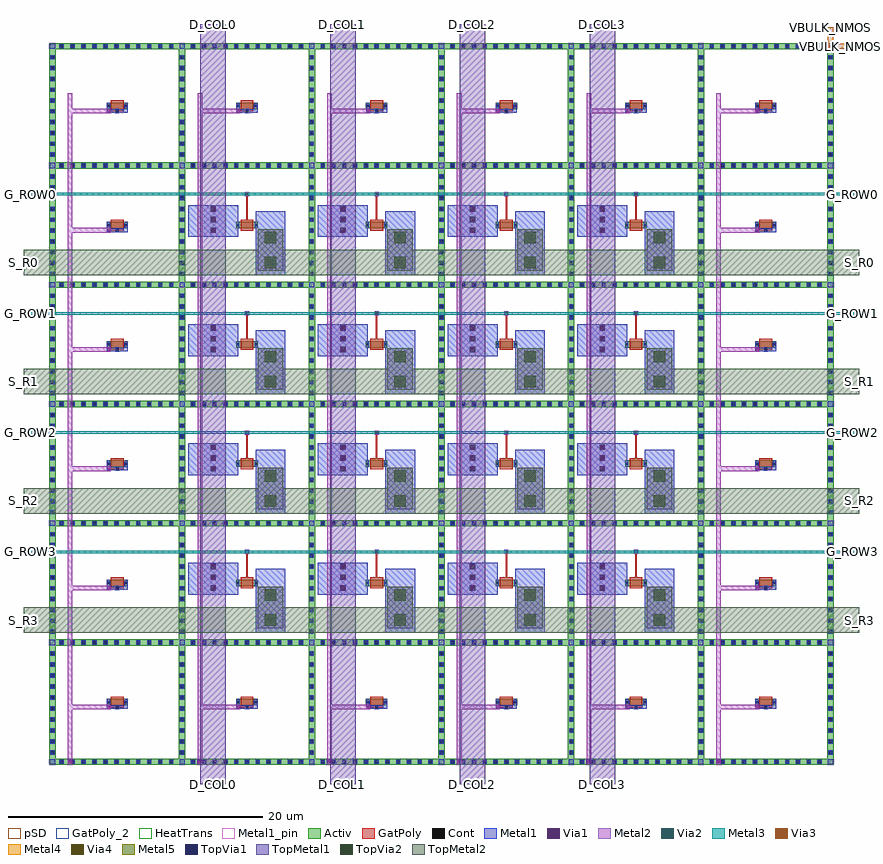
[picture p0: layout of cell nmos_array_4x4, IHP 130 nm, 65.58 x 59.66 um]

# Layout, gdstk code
import gdstk
lib = gdstk.Library(unit=1e-6, precision=1e-09)
def R(c, l, rs):  # rectangles x0, y0, x1, y1
    for r in rs: c.add(gdstk.rectangle(r[:2], r[2:], *l))
def A(c, l, x, y, w, h, nx, ny, dx, dy):  # array of equal rectangles
    R(c, l, [(x+i*dx, y+j*dy, x+i*dx+w, y+j*dy+h) for i in range(nx) for j in range(ny)])
Activ = (1, 0)
GatPoly = (5, 0)
GatPoly_2 = (5, 2)
Cont = (6, 0)
Metal1 = (8, 0)
Metal1_pin = (8, 2)
Metal2 = (10, 0)
pSD = (14, 0)
Via1 = (19, 0)
Via2 = (29, 0)
Metal3 = (30, 0)
Via3 = (49, 0)
Metal4 = (50, 0)
HeatTrans = (51, 0)
Via4 = (66, 0)
Metal5 = (67, 0)
TopVia1 = (125, 0)
TopMetal1 = (126, 0)
TopVia2 = (133, 0)
TopMetal2 = (134, 0)

nmos = lib.new_cell('nmos')
R(nmos, Activ, [(0,0,0.3,0.3), (0,0,1.68,0.5), (1.38,0,1.68,0.3)])
R(nmos, GatPoly, [(0.34,-0.18,1.34,0.68)])
R(nmos, GatPoly_2, [(0.34,-0.18,1.34,0.68)])
R(nmos, Cont, [(0.07,0.17,0.23,0.33), (1.45,0.17,1.61,0.33)])
R(nmos, Metal1, [(0.07,0,0.23,0.5), (1.45,0,1.61,0.5)])
R(nmos, Metal1_pin, [(0.07,0,0.23,0.5), (1.45,0,1.61,0.5)])
R(nmos, HeatTrans, [(0.34,-0.18,1.34,0.68)])
nmos.add(gdstk.Label('nmos', (0.84,0.25), layer=63, texttype=0))
nmos.add(gdstk.Label('nmos', (0.84,0.25), layer=51, texttype=0))

nmos_array_4x4 = lib.new_cell('nmos_array_4x4')
A(nmos_array_4x4, Activ, 0, 0, 0.5, 56.66, 7, 1, 10.18, 0)
A(nmos_array_4x4, Activ, 0, 0, 61.58, 0.5, 1, 7, 0, 9.36)
A(nmos_array_4x4, GatPoly, 5.275, 4.53, 0.13, 0.2, 6, 2, 10.18, 46.8)
A(nmos_array_4x4, GatPoly, 5.275, 13.89, 0.13, 0.2, 1, 4, 0, 9.36)
A(nmos_array_4x4, GatPoly, 56.175, 13.89, 0.13, 0.2, 1, 4, 0, 9.36)
A(nmos_array_4x4, GatPoly, 15.455, 14.72, 0.13, 2, 4, 4, 10.18, 9.36)
A(nmos_array_4x4, Cont, 0.86, 0.14, 0.22, 0.22, 11, 7, 0.86, 9.36)
A(nmos_array_4x4, Cont, 11.18, 0.14, 0.22, 0.22, 11, 7, 0.846, 9.36)
A(nmos_array_4x4, Cont, 21.36, 0.14, 0.22, 0.22, 11, 7, 0.846, 9.36)
A(nmos_array_4x4, Cont, 31.54, 0.14, 0.22, 0.22, 11, 7, 0.846, 9.36)
A(nmos_array_4x4, Cont, 41.72, 0.14, 0.22, 0.22, 11, 7, 0.846, 9.36)
A(nmos_array_4x4, Cont, 51.9, 0.14, 0.22, 0.22, 11, 7, 0.846, 9.36)
A(nmos_array_4x4, Cont, 0.14, 0.864, 0.22, 0.22, 7, 10, 10.18, 0.864)
A(nmos_array_4x4, Cont, 5.23, 4.42, 0.22, 0.22, 6, 2, 10.18, 46.8)
A(nmos_array_4x4, Cont, 0.14, 10.36, 0.22, 0.22, 7, 2, 10.18, 0.848)
A(nmos_array_4x4, Cont, 0.14, 12.057, 0.22, 0.22, 7, 8, 10.18, 0.849)
A(nmos_array_4x4, Cont, 5.23, 13.78, 0.22, 0.22, 1, 4, 0, 9.36)
A(nmos_array_4x4, Cont, 56.13, 13.78, 0.22, 0.22, 1, 4, 0, 9.36)
A(nmos_array_4x4, Cont, 15.41, 16.61, 0.22, 0.22, 4, 4, 10.18, 9.36)
A(nmos_array_4x4, Cont, 0.14, 19.72, 0.22, 0.22, 7, 2, 10.18, 0.848)
A(nmos_array_4x4, Cont, 0.14, 21.417, 0.22, 0.22, 7, 8, 10.18, 0.849)
A(nmos_array_4x4, Cont, 0.14, 29.08, 0.22, 0.22, 7, 2, 10.18, 0.848)
A(nmos_array_4x4, Cont, 0.14, 30.777, 0.22, 0.22, 7, 8, 10.18, 0.849)
A(nmos_array_4x4, Cont, 0.14, 38.44, 0.22, 0.22, 7, 2, 10.18, 0.848)
A(nmos_array_4x4, Cont, 0.14, 40.137, 0.22, 0.22, 7, 8, 10.18, 0.849)
A(nmos_array_4x4, Cont, 0.14, 47.8, 0.22, 0.22, 7, 2, 10.18, 0.848)
A(nmos_array_4x4, Cont, 0.14, 49.497, 0.22, 0.22, 7, 8, 10.18, 0.849)
A(nmos_array_4x4, Metal1, 0.8, 0.08, 0.34, 0.34, 11, 7, 0.86, 9.36)
A(nmos_array_4x4, Metal1, 11.12, 0.08, 0.34, 0.34, 11, 7, 0.846, 9.36)
A(nmos_array_4x4, Metal1, 21.3, 0.08, 0.34, 0.34, 11, 7, 0.846, 9.36)
A(nmos_array_4x4, Metal1, 31.48, 0.08, 0.34, 0.34, 11, 7, 0.846, 9.36)
A(nmos_array_4x4, Metal1, 41.66, 0.08, 0.34, 0.34, 11, 7, 0.846, 9.36)
A(nmos_array_4x4, Metal1, 51.84, 0.08, 0.34, 0.34, 11, 7, 0.846, 9.36)
A(nmos_array_4x4, Metal1, 0.08, 0.804, 0.34, 0.34, 7, 10, 10.18, 0.864)
A(nmos_array_4x4, Metal1, 5.17, 4.36, 0.34, 0.34, 6, 2, 10.18, 46.8)
A(nmos_array_4x4, Metal1, 4.51, 4.39, 0.28, 0.68, 1, 6, 0, 9.36)
A(nmos_array_4x4, Metal1, 4.51, 4.39, 1.66, 0.28, 6, 2, 10.18, 46.8)
A(nmos_array_4x4, Metal1, 5.89, 4.39, 0.28, 0.68, 1, 6, 0, 9.36)
A(nmos_array_4x4, Metal1, 55.41, 4.39, 0.28, 0.68, 1, 6, 0, 9.36)
A(nmos_array_4x4, Metal1, 56.79, 4.39, 0.28, 0.68, 1, 6, 0, 9.36)
A(nmos_array_4x4, Metal1, 0.05, 9.41, 0.4, 0.4, 7, 6, 10.18, 9.36)
A(nmos_array_4x4, Metal1, 0.08, 10.3, 0.34, 0.34, 7, 2, 10.18, 0.848)
A(nmos_array_4x4, Metal1, 16.21, 10.36, 2.32, 5.02, 4, 4, 10.18, 9.36)
A(nmos_array_4x4, Metal1, 0.08, 11.997, 0.34, 0.34, 7, 8, 10.18, 0.849)
A(nmos_array_4x4, Metal1, 10.91, 13.371, 3.92, 2.499, 4, 4, 10.18, 9.36)
A(nmos_array_4x4, Metal1, 5.17, 13.72, 0.34, 0.34, 1, 4, 0, 9.36)
A(nmos_array_4x4, Metal1, 56.07, 13.72, 0.34, 0.34, 1, 4, 0, 9.36)
A(nmos_array_4x4, Metal1, 4.51, 13.75, 1.66, 0.28, 1, 4, 0, 9.36)
A(nmos_array_4x4, Metal1, 55.41, 13.75, 1.66, 0.28, 1, 4, 0, 9.36)
A(nmos_array_4x4, Metal1, 15.36, 16.56, 0.32, 0.32, 4, 4, 10.18, 9.36)
A(nmos_array_4x4, Metal1, 0.08, 19.66, 0.34, 0.34, 7, 2, 10.18, 0.848)
A(nmos_array_4x4, Metal1, 0.08, 21.357, 0.34, 0.34, 7, 8, 10.18, 0.849)
A(nmos_array_4x4, Metal1, 0.08, 29.02, 0.34, 0.34, 7, 2, 10.18, 0.848)
A(nmos_array_4x4, Metal1, 0.08, 30.717, 0.34, 0.34, 7, 8, 10.18, 0.849)
A(nmos_array_4x4, Metal1, 0.08, 38.38, 0.34, 0.34, 7, 2, 10.18, 0.848)
A(nmos_array_4x4, Metal1, 0.08, 40.077, 0.34, 0.34, 7, 8, 10.18, 0.849)
A(nmos_array_4x4, Metal1, 0.08, 47.74, 0.34, 0.34, 7, 2, 10.18, 0.848)
A(nmos_array_4x4, Metal1, 0.08, 49.437, 0.34, 0.34, 7, 8, 10.18, 0.849)
R(nmos_array_4x4, Metal1, [(0.05,0.05,0.45,0.45), (1.44,0.05,1.84,0.45), (10.23,0.05,10.63,0.45), (11.62,0.05,12.02,0.45), (20.41,0.05,20.81,0.45), (21.8,0.05,22.2,0.45), (30.59,0.05,30.99,0.45), (31.98,0.05,32.38,0.45), (40.77,0.05,41.17,0.45), (42.16,0.05,42.56,0.45), (50.95,0.05,51.35,0.45), (52.34,0.05,52.74,0.45), (61.13,0.05,61.53,0.45), (14.69,4.39,14.97,5.07), (16.07,4.39,16.35,5.07), (24.87,4.39,25.15,5.07), (26.25,4.39,26.53,5.07), (35.05,4.39,35.33,5.07), (36.43,4.39,36.71,5.07), (45.23,4.39,45.51,5.07), (46.61,4.39,46.89,5.07), (14.69,51.19,14.97,51.87), (16.07,51.19,16.35,51.87), (24.87,51.19,25.15,51.87), (26.25,51.19,26.53,51.87), (35.05,51.19,35.33,51.87), (36.43,51.19,36.71,51.87), (45.23,51.19,45.51,51.87), (46.61,51.19,46.89,51.87)])
A(nmos_array_4x4, Metal2, 1.46, 0.07, 0.36, 52.66, 6, 1, 10.18, 0)
A(nmos_array_4x4, Metal2, 1.46, 4.35, 3.37, 0.36, 6, 2, 10.18, 46.8)
A(nmos_array_4x4, Metal2, 17.215, 11.205, 0.31, 0.31, 4, 2, 10.18, 1.96)
A(nmos_array_4x4, Metal2, 1.46, 13.71, 3.37, 0.36, 1, 4, 0, 9.36)
A(nmos_array_4x4, Metal2, 52.36, 13.71, 3.37, 0.36, 1, 4, 0, 9.36)
A(nmos_array_4x4, Metal2, 12.715, 13.735, 0.31, 0.31, 4, 3, 10.18, 0.84)
A(nmos_array_4x4, Metal2, 15.375, 16.575, 0.29, 0.29, 4, 4, 10.18, 9.36)
A(nmos_array_4x4, Metal2, 17.215, 20.565, 0.31, 0.31, 4, 2, 10.18, 1.96)
A(nmos_array_4x4, Metal2, 12.715, 23.095, 0.31, 0.31, 4, 3, 10.18, 0.84)
A(nmos_array_4x4, Metal2, 17.215, 29.925, 0.31, 0.31, 4, 2, 10.18, 1.96)
A(nmos_array_4x4, Metal2, 12.715, 32.455, 0.31, 0.31, 4, 3, 10.18, 0.84)
A(nmos_array_4x4, Metal2, 17.215, 39.285, 0.31, 0.31, 4, 2, 10.18, 1.96)
A(nmos_array_4x4, Metal2, 12.715, 41.815, 0.31, 0.31, 4, 3, 10.18, 0.84)
R(nmos_array_4x4, Metal2, [(61.15,56.23,61.51,56.59)])
A(nmos_array_4x4, pSD, 0, 0, 0.5, 56.66, 7, 1, 10.18, 0)
A(nmos_array_4x4, pSD, 0, 0, 61.58, 0.5, 1, 7, 0, 9.36)
A(nmos_array_4x4, Via1, 1.545, 0.155, 0.19, 0.19, 6, 1, 10.18, 0)
A(nmos_array_4x4, Via1, 4.555, 4.435, 0.19, 0.19, 6, 2, 10.18, 46.8)
A(nmos_array_4x4, Via1, 17.275, 11.265, 0.19, 0.19, 4, 2, 10.18, 1.96)
A(nmos_array_4x4, Via1, 4.555, 13.795, 0.19, 0.19, 1, 4, 0, 9.36)
A(nmos_array_4x4, Via1, 12.775, 13.795, 0.19, 0.19, 4, 3, 10.18, 0.84)
A(nmos_array_4x4, Via1, 55.455, 13.795, 0.19, 0.19, 1, 4, 0, 9.36)
A(nmos_array_4x4, Via1, 15.425, 16.625, 0.19, 0.19, 4, 4, 10.18, 9.36)
A(nmos_array_4x4, Via1, 17.275, 20.625, 0.19, 0.19, 4, 2, 10.18, 1.96)
A(nmos_array_4x4, Via1, 12.775, 23.155, 0.19, 0.19, 4, 3, 10.18, 0.84)
A(nmos_array_4x4, Via1, 17.275, 29.985, 0.19, 0.19, 4, 2, 10.18, 1.96)
A(nmos_array_4x4, Via1, 12.775, 32.515, 0.19, 0.19, 4, 3, 10.18, 0.84)
A(nmos_array_4x4, Via1, 17.275, 39.345, 0.19, 0.19, 4, 2, 10.18, 1.96)
A(nmos_array_4x4, Via1, 12.775, 41.875, 0.19, 0.19, 4, 3, 10.18, 0.84)
R(nmos_array_4x4, Via1, [(61.235,56.315,61.425,56.505)])
A(nmos_array_4x4, Via2, 17.275, 11.265, 0.19, 0.19, 4, 2, 10.18, 1.96)
A(nmos_array_4x4, Via2, 12.775, 13.795, 0.19, 0.19, 4, 3, 10.18, 0.84)
A(nmos_array_4x4, Via2, 15.425, 16.625, 0.19, 0.19, 4, 4, 10.18, 9.36)
A(nmos_array_4x4, Via2, 17.275, 20.625, 0.19, 0.19, 4, 2, 10.18, 1.96)
A(nmos_array_4x4, Via2, 12.775, 23.155, 0.19, 0.19, 4, 3, 10.18, 0.84)
A(nmos_array_4x4, Via2, 17.275, 29.985, 0.19, 0.19, 4, 2, 10.18, 1.96)
A(nmos_array_4x4, Via2, 12.775, 32.515, 0.19, 0.19, 4, 3, 10.18, 0.84)
A(nmos_array_4x4, Via2, 17.275, 39.345, 0.19, 0.19, 4, 2, 10.18, 1.96)
A(nmos_array_4x4, Via2, 12.775, 41.875, 0.19, 0.19, 4, 3, 10.18, 0.84)
R(nmos_array_4x4, Via2, [(61.235,56.315,61.425,56.505)])
A(nmos_array_4x4, Metal3, 17.215, 11.205, 0.31, 0.31, 4, 2, 10.18, 1.96)
A(nmos_array_4x4, Metal3, 12.715, 13.735, 0.31, 0.31, 4, 3, 10.18, 0.84)
A(nmos_array_4x4, Metal3, -1.6, 16.62, 64.78, 0.2, 1, 4, 0, 9.36)
A(nmos_array_4x4, Metal3, 15.42, 16.62, 0.2, 0.2, 4, 4, 10.18, 9.36)
A(nmos_array_4x4, Metal3, 17.215, 20.565, 0.31, 0.31, 4, 2, 10.18, 1.96)
A(nmos_array_4x4, Metal3, 12.715, 23.095, 0.31, 0.31, 4, 3, 10.18, 0.84)
A(nmos_array_4x4, Metal3, 17.215, 29.925, 0.31, 0.31, 4, 2, 10.18, 1.96)
A(nmos_array_4x4, Metal3, 12.715, 32.455, 0.31, 0.31, 4, 3, 10.18, 0.84)
A(nmos_array_4x4, Metal3, 17.215, 39.285, 0.31, 0.31, 4, 2, 10.18, 1.96)
A(nmos_array_4x4, Metal3, 12.715, 41.815, 0.31, 0.31, 4, 3, 10.18, 0.84)
R(nmos_array_4x4, Metal3, [(61.23,56.31,61.43,56.51)])
A(nmos_array_4x4, Via3, 17.275, 11.265, 0.19, 0.19, 4, 2, 10.18, 1.96)
A(nmos_array_4x4, Via3, 12.775, 13.795, 0.19, 0.19, 4, 3, 10.18, 0.84)
A(nmos_array_4x4, Via3, 17.275, 20.625, 0.19, 0.19, 4, 2, 10.18, 1.96)
A(nmos_array_4x4, Via3, 12.775, 23.155, 0.19, 0.19, 4, 3, 10.18, 0.84)
A(nmos_array_4x4, Via3, 17.275, 29.985, 0.19, 0.19, 4, 2, 10.18, 1.96)
A(nmos_array_4x4, Via3, 12.775, 32.515, 0.19, 0.19, 4, 3, 10.18, 0.84)
A(nmos_array_4x4, Via3, 17.275, 39.345, 0.19, 0.19, 4, 2, 10.18, 1.96)
A(nmos_array_4x4, Via3, 12.775, 41.875, 0.19, 0.19, 4, 3, 10.18, 0.84)
R(nmos_array_4x4, Via3, [(61.235,56.315,61.425,56.505)])
A(nmos_array_4x4, Metal4, 17.215, 11.205, 0.31, 0.31, 4, 2, 10.18, 1.96)
A(nmos_array_4x4, Metal4, 12.715, 13.735, 0.31, 0.31, 4, 3, 10.18, 0.84)
A(nmos_array_4x4, Metal4, 17.215, 20.565, 0.31, 0.31, 4, 2, 10.18, 1.96)
A(nmos_array_4x4, Metal4, 12.715, 23.095, 0.31, 0.31, 4, 3, 10.18, 0.84)
A(nmos_array_4x4, Metal4, 17.215, 29.925, 0.31, 0.31, 4, 2, 10.18, 1.96)
A(nmos_array_4x4, Metal4, 12.715, 32.455, 0.31, 0.31, 4, 3, 10.18, 0.84)
A(nmos_array_4x4, Metal4, 17.215, 39.285, 0.31, 0.31, 4, 2, 10.18, 1.96)
A(nmos_array_4x4, Metal4, 12.715, 41.815, 0.31, 0.31, 4, 3, 10.18, 0.84)
R(nmos_array_4x4, Metal4, [(61.13,56.21,62.83,56.61), (61.13,56.21,61.53,57.91)])
A(nmos_array_4x4, Via4, 17.275, 11.265, 0.19, 0.19, 4, 2, 10.18, 1.96)
A(nmos_array_4x4, Via4, 12.775, 13.795, 0.19, 0.19, 4, 3, 10.18, 0.84)
A(nmos_array_4x4, Via4, 17.275, 20.625, 0.19, 0.19, 4, 2, 10.18, 1.96)
A(nmos_array_4x4, Via4, 12.775, 23.155, 0.19, 0.19, 4, 3, 10.18, 0.84)
A(nmos_array_4x4, Via4, 17.275, 29.985, 0.19, 0.19, 4, 2, 10.18, 1.96)
A(nmos_array_4x4, Via4, 12.775, 32.515, 0.19, 0.19, 4, 3, 10.18, 0.84)
A(nmos_array_4x4, Via4, 17.275, 39.345, 0.19, 0.19, 4, 2, 10.18, 1.96)
A(nmos_array_4x4, Via4, 12.775, 41.875, 0.19, 0.19, 4, 3, 10.18, 0.84)
A(nmos_array_4x4, Metal5, 17.215, 11.205, 0.31, 0.31, 4, 2, 10.18, 1.96)
A(nmos_array_4x4, Metal5, 12.715, 13.735, 0.31, 0.31, 4, 3, 10.18, 0.84)
A(nmos_array_4x4, Metal5, 17.215, 20.565, 0.31, 0.31, 4, 2, 10.18, 1.96)
A(nmos_array_4x4, Metal5, 12.715, 23.095, 0.31, 0.31, 4, 3, 10.18, 0.84)
A(nmos_array_4x4, Metal5, 17.215, 29.925, 0.31, 0.31, 4, 2, 10.18, 1.96)
A(nmos_array_4x4, Metal5, 12.715, 32.455, 0.31, 0.31, 4, 3, 10.18, 0.84)
A(nmos_array_4x4, Metal5, 17.215, 39.285, 0.31, 0.31, 4, 2, 10.18, 1.96)
A(nmos_array_4x4, Metal5, 12.715, 41.815, 0.31, 0.31, 4, 3, 10.18, 0.84)
A(nmos_array_4x4, TopVia1, 17.16, 11.15, 0.42, 0.42, 4, 2, 10.18, 1.96)
A(nmos_array_4x4, TopVia1, 12.66, 13.68, 0.42, 0.42, 4, 3, 10.18, 0.84)
A(nmos_array_4x4, TopVia1, 17.16, 20.51, 0.42, 0.42, 4, 2, 10.18, 1.96)
A(nmos_array_4x4, TopVia1, 12.66, 23.04, 0.42, 0.42, 4, 3, 10.18, 0.84)
A(nmos_array_4x4, TopVia1, 17.16, 29.87, 0.42, 0.42, 4, 2, 10.18, 1.96)
A(nmos_array_4x4, TopVia1, 12.66, 32.4, 0.42, 0.42, 4, 3, 10.18, 0.84)
A(nmos_array_4x4, TopVia1, 17.16, 39.23, 0.42, 0.42, 4, 2, 10.18, 1.96)
A(nmos_array_4x4, TopVia1, 12.66, 41.76, 0.42, 0.42, 4, 3, 10.18, 0.84)
A(nmos_array_4x4, TopMetal1, 11.87, -1.5, 2, 59.66, 4, 1, 10.18, 0)
A(nmos_array_4x4, TopMetal1, 16.37, 10.71, 2, 3.26, 4, 4, 10.18, 9.36)
A(nmos_array_4x4, TopMetal1, 11.87, 13.58, 2, 2.3, 4, 4, 10.18, 9.36)
A(nmos_array_4x4, TopVia2, 16.92, 10.91, 0.9, 0.9, 4, 2, 10.18, 1.96)
A(nmos_array_4x4, TopVia2, 16.92, 20.27, 0.9, 0.9, 4, 2, 10.18, 1.96)
A(nmos_array_4x4, TopVia2, 16.92, 29.63, 0.9, 0.9, 4, 2, 10.18, 1.96)
A(nmos_array_4x4, TopVia2, 16.92, 38.99, 0.9, 0.9, 4, 2, 10.18, 1.96)
A(nmos_array_4x4, TopMetal2, -2, 10.36, 65.58, 2, 1, 4, 0, 9.36)
A(nmos_array_4x4, TopMetal2, 16.37, 10.71, 2, 3.26, 4, 4, 10.18, 9.36)
nmos_array_4x4.add(gdstk.Reference(nmos, (4.5,4.68)))
nmos_array_4x4.add(gdstk.Reference(nmos, (14.68,4.68)))
nmos_array_4x4.add(gdstk.Reference(nmos, (24.86,4.68)))
nmos_array_4x4.add(gdstk.Reference(nmos, (35.04,4.68)))
nmos_array_4x4.add(gdstk.Reference(nmos, (45.22,4.68)))
nmos_array_4x4.add(gdstk.Reference(nmos, (55.4,4.68)))
nmos_array_4x4.add(gdstk.Reference(nmos, (4.5,14.04)))
nmos_array_4x4.add(gdstk.Reference(nmos, (14.68,14.04)))
nmos_array_4x4.add(gdstk.Reference(nmos, (24.86,14.04)))
nmos_array_4x4.add(gdstk.Reference(nmos, (35.04,14.04)))
nmos_array_4x4.add(gdstk.Reference(nmos, (45.22,14.04)))
nmos_array_4x4.add(gdstk.Reference(nmos, (55.4,14.04)))
nmos_array_4x4.add(gdstk.Reference(nmos, (4.5,23.4)))
nmos_array_4x4.add(gdstk.Reference(nmos, (14.68,23.4)))
nmos_array_4x4.add(gdstk.Reference(nmos, (24.86,23.4)))
nmos_array_4x4.add(gdstk.Reference(nmos, (35.04,23.4)))
nmos_array_4x4.add(gdstk.Reference(nmos, (45.22,23.4)))
nmos_array_4x4.add(gdstk.Reference(nmos, (55.4,23.4)))
nmos_array_4x4.add(gdstk.Reference(nmos, (4.5,32.76)))
nmos_array_4x4.add(gdstk.Reference(nmos, (14.68,32.76)))
nmos_array_4x4.add(gdstk.Reference(nmos, (24.86,32.76)))
nmos_array_4x4.add(gdstk.Reference(nmos, (35.04,32.76)))
nmos_array_4x4.add(gdstk.Reference(nmos, (45.22,32.76)))
nmos_array_4x4.add(gdstk.Reference(nmos, (55.4,32.76)))
nmos_array_4x4.add(gdstk.Reference(nmos, (4.5,42.12)))
nmos_array_4x4.add(gdstk.Reference(nmos, (14.68,42.12)))
nmos_array_4x4.add(gdstk.Reference(nmos, (24.86,42.12)))
nmos_array_4x4.add(gdstk.Reference(nmos, (35.04,42.12)))
nmos_array_4x4.add(gdstk.Reference(nmos, (45.22,42.12)))
nmos_array_4x4.add(gdstk.Reference(nmos, (55.4,42.12)))
nmos_array_4x4.add(gdstk.Reference(nmos, (4.5,51.48)))
nmos_array_4x4.add(gdstk.Reference(nmos, (14.68,51.48)))
nmos_array_4x4.add(gdstk.Reference(nmos, (24.86,51.48)))
nmos_array_4x4.add(gdstk.Reference(nmos, (35.04,51.48)))
nmos_array_4x4.add(gdstk.Reference(nmos, (45.22,51.48)))
nmos_array_4x4.add(gdstk.Reference(nmos, (55.4,51.48)))
nmos_array_4x4.add(gdstk.Label('VBULK_NMOS', (62.83,56.41), layer=63, texttype=0))
nmos_array_4x4.add(gdstk.Label('VBULK_NMOS', (61.33,57.91), layer=63, texttype=0))
nmos_array_4x4.add(gdstk.Label('G_ROW3', (-1.5,16.72), layer=63, texttype=0))
nmos_array_4x4.add(gdstk.Label('G_ROW3', (63.08,16.72), layer=63, texttype=0))
nmos_array_4x4.add(gdstk.Label('G_ROW2', (-1.5,26.08), layer=63, texttype=0))
nmos_array_4x4.add(gdstk.Label('G_ROW2', (63.08,26.08), layer=63, texttype=0))
nmos_array_4x4.add(gdstk.Label('G_ROW1', (-1.5,35.44), layer=63, texttype=0))
nmos_array_4x4.add(gdstk.Label('G_ROW1', (63.08,35.44), layer=63, texttype=0))
nmos_array_4x4.add(gdstk.Label('G_ROW0', (-1.5,44.8), layer=63, texttype=0))
nmos_array_4x4.add(gdstk.Label('G_ROW0', (63.08,44.8), layer=63, texttype=0))
nmos_array_4x4.add(gdstk.Label('D_COL0', (12.87,-1.5), layer=63, texttype=0))
nmos_array_4x4.add(gdstk.Label('D_COL0', (12.87,58.16), layer=63, texttype=0))
nmos_array_4x4.add(gdstk.Label('D_COL1', (23.05,-1.5), layer=63, texttype=0))
nmos_array_4x4.add(gdstk.Label('D_COL1', (23.05,58.16), layer=63, texttype=0))
nmos_array_4x4.add(gdstk.Label('D_COL2', (33.23,-1.5), layer=63, texttype=0))
nmos_array_4x4.add(gdstk.Label('D_COL2', (33.23,58.16), layer=63, texttype=0))
nmos_array_4x4.add(gdstk.Label('D_COL3', (43.41,-1.5), layer=63, texttype=0))
nmos_array_4x4.add(gdstk.Label('D_COL3', (43.41,58.16), layer=63, texttype=0))
nmos_array_4x4.add(gdstk.Label('S_R3', (-2,11.36), layer=63, texttype=0))
nmos_array_4x4.add(gdstk.Label('S_R3', (63.58,11.36), layer=63, texttype=0))
nmos_array_4x4.add(gdstk.Label('S_R2', (-2,20.72), layer=63, texttype=0))
nmos_array_4x4.add(gdstk.Label('S_R2', (63.58,20.72), layer=63, texttype=0))
nmos_array_4x4.add(gdstk.Label('S_R1', (-2,30.08), layer=63, texttype=0))
nmos_array_4x4.add(gdstk.Label('S_R1', (63.58,30.08), layer=63, texttype=0))
nmos_array_4x4.add(gdstk.Label('S_R0', (-2,39.44), layer=63, texttype=0))
nmos_array_4x4.add(gdstk.Label('S_R0', (63.58,39.44), layer=63, texttype=0))

lib.write_gds('nmos_array_4x4.gds')
